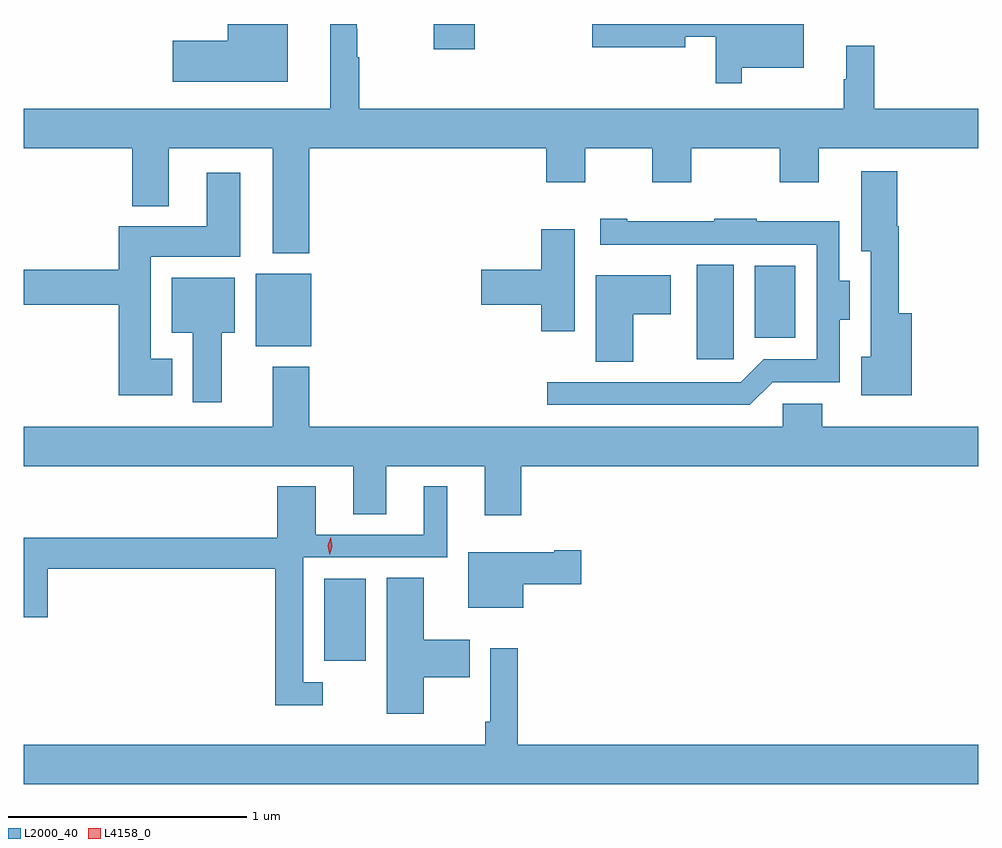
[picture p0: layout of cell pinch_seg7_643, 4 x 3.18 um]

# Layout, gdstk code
import gdstk
lib = gdstk.Library(unit=1e-6, precision=1e-09)
def R(c, l, rs):  # rectangles x0, y0, x1, y1
    for r in rs: c.add(gdstk.rectangle(r[:2], r[2:], *l))
def P(c, l, *ps):  # polygons
    for p in ps: c.add(gdstk.Polygon(p, *l))
L2000_40 = (2000, 40)
L4158_0 = (4158, 0)

pinch_seg7_643 = lib.new_cell('pinch_seg7_643')
R(pinch_seg7_643, L2000_40, [(193.295,1031.768,193.468,1032.112), (194.855,1033.031,195.01,1033.427), (193.007,1033.085,193.24,1033.39), (195.098,1033.121,195.268,1033.423), (193.753,1034.331,193.926,1034.436)])
P(pinch_seg7_643, L2000_40, [(193.232,1033.916),(194.225,1033.916),(194.225,1033.773),(194.389,1033.773),(194.389,1033.916),(194.669,1033.916),(194.669,1033.773),(194.833,1033.773),(194.833,1033.916),(195.203,1033.916),(195.203,1033.773),(195.367,1033.773),(195.367,1033.916),(196.035,1033.916),(196.035,1034.08),(195.599,1034.08),(195.599,1034.344),(195.482,1034.344),(195.482,1034.204),(195.471,1034.204),(195.471,1034.08),(193.441,1034.08),(193.441,1034.297),(193.433,1034.297),(193.433,1034.417),(193.43,1034.417),(193.43,1034.436),(193.319,1034.436),(193.319,1034.08),(192.035,1034.08),(192.035,1033.916),(192.491,1033.916),(192.491,1033.673),(192.643,1033.673),(192.643,1033.916),(193.079,1033.916),(193.079,1033.475),(193.232,1033.475)],
  [(195.043,1034.252),(195.304,1034.252),(195.304,1034.436),(194.418,1034.436),(194.418,1034.339),(194.806,1034.339),(194.806,1034.382),(194.934,1034.382),(194.934,1034.187),(195.043,1034.187)],
  [(193.141,1034.436),(192.89,1034.436),(192.89,1034.366),(192.66,1034.366),(192.66,1034.195),(193.141,1034.195)],
  [(195.755,1033.225),(195.701,1033.225),(195.701,1033.588),(195.695,1033.588),(195.695,1033.819),(195.545,1033.819),(195.545,1033.484),(195.585,1033.484),(195.585,1033.041),(195.545,1033.041),(195.545,1032.881),(195.755,1032.881)],
  [(192.658,1033.033),(192.568,1033.033),(192.568,1033.46),(192.943,1033.46),(192.943,1033.813),(192.803,1033.813),(192.803,1033.588),(192.434,1033.588),(192.434,1033.406),(192.035,1033.406),(192.035,1033.259),(192.434,1033.259),(192.434,1032.881),(192.658,1032.881)],
  [(195.174,1032.936),(195.454,1032.936),(195.454,1033.196),(195.496,1033.196),(195.496,1033.36),(195.453,1033.36),(195.453,1033.609),(195.107,1033.609),(195.107,1033.621),(194.929,1033.621),(194.929,1033.609),(194.563,1033.609),(194.563,1033.621),(194.451,1033.621),(194.451,1033.512),(195.357,1033.512),(195.357,1033.032),(195.135,1033.032),(195.039,1032.936),(194.229,1032.936),(194.229,1032.84),(195.078,1032.84)],
  [(194.344,1033.576),(194.204,1033.576),(194.204,1033.406),(193.953,1033.406),(193.953,1033.259),(194.204,1033.259),(194.204,1033.149),(194.344,1033.149)],
  [(194.59,1033.22),(194.746,1033.22),(194.746,1033.384),(194.432,1033.384),(194.432,1033.021),(194.59,1033.021)],
  [(192.865,1033.142),(192.919,1033.142),(192.919,1033.372),(192.656,1033.372),(192.656,1033.142),(192.743,1033.142),(192.743,1032.852),(192.865,1032.852)],
  [(194.12,1032.584),(196.035,1032.584),(196.035,1032.748),(195.38,1032.748),(195.38,1032.846),(195.216,1032.846),(195.216,1032.748),(193.232,1032.748),(193.232,1033),(193.079,1033),(193.079,1032.748),(192.035,1032.748),(192.035,1032.584),(193.415,1032.584),(193.415,1032.382),(193.555,1032.382),(193.555,1032.584),(193.967,1032.584),(193.967,1032.378),(194.12,1032.378)],
  [(193.288,1031.679),(193.206,1031.679),(193.206,1032.201),(193.81,1032.201),(193.81,1032.499),(193.712,1032.499),(193.712,1032.297),(193.258,1032.297),(193.258,1032.499),(193.097,1032.499),(193.097,1032.283),(192.035,1032.283),(192.035,1031.951),(192.137,1031.951),(192.137,1032.154),(193.09,1032.154),(193.09,1031.582),(193.288,1031.582)],
  [(194.128,1032.089),(194.371,1032.089),(194.371,1032.231),(194.258,1032.231),(194.258,1032.223),(193.898,1032.223),(193.898,1031.99),(194.128,1031.99)],
  [(193.711,1031.699),(193.904,1031.699),(193.904,1031.857),(193.711,1031.857),(193.711,1032.116),(193.556,1032.116),(193.556,1031.547),(193.711,1031.547)],
  [(196.035,1031.416),(194.105,1031.416),(194.105,1031.821),(193.989,1031.821),(193.989,1031.512),(193.969,1031.512),(193.969,1031.416),(192.035,1031.416),(192.035,1031.252),(196.035,1031.252)])
P(pinch_seg7_643, L4158_0, [(193.318,1032.213),(193.318,1032.213),(193.31,1032.25),(193.321,1032.285),(193.321,1032.285),(193.321,1032.285),(193.329,1032.249),(193.318,1032.213)])

lib.write_gds('pinch_seg7_643.gds')
